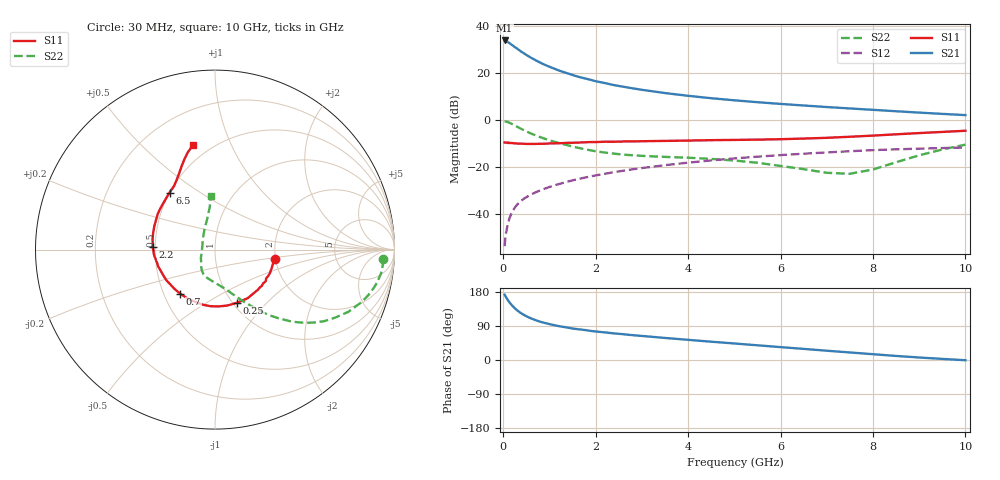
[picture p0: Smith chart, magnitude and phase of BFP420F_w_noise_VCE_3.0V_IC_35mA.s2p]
! Infineon Technologies  Discrete & RF Semiconductors
! BFP420F
! VCE =  3.0 V,  IC =  35 mA
! Common Emitter S-Parameters:  Sep 2011
# GHz  S  MA  R  50
!  f  S11  S21  S12  S22
! GHz  MAG  ANG  MAG  ANG  MAG  ANG  MAG  ANG
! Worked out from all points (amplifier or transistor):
!   54 points, 30 MHz to 10 GHz, reference 50 ohm
!   highest |S21| = 33.9 dB at 30 MHz (marker M1)
!   |S21| within 3 dB of that: start of sweep to 264.9 MHz
!   unconditionally stable (mu >= 1): 1.443 GHz to end of sweep
!   at 120 MHz: K = 0.36, MSG = 37.9 dB, |S12| = -42.9 dB
!   at 1.3 GHz: K = 0.97, MSG = 23.5 dB, |S12| = -26.6 dB
!   at 10 GHz: K = 1.22, MAG = 4.1 dB, |S12| = -11.6 dB
!   lowest NFmin = 1.93 dB at 450 MHz
!   S11 on the Smith chart (normalised r, x): 30 MHz: 1.98, -0.22; 250 MHz: 1.05, -0.69; 700 MHz: 0.61, -0.33; 2.2 GHz: 0.48, +0.01; 6.5 GHz: 0.50, +0.38; 10 GHz: 0.40, +0.73
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0.03  0.3356 -8.5  49.39 172.5  0.0021 87.9  0.9388 -3.3
0.07  0.3316 -21.5  47.64 164.2  0.0043 84.3  0.9288 -9.5
0.1  0.3268 -29.5  45.89 158.2  0.0063 82.0  0.909 -13.7
0.12  0.3277 -35.2  44.47 154.5  0.0072 80.4  0.8926 -16.3
0.15  0.3272 -43.2  42.26 149.8  0.009 78.4  0.8657 -19.9
0.2  0.3262 -55.9  38.97 142.9  0.0116 76.0  0.8191 -25.1
0.25  0.3207 -67.5  35.77 136.6  0.0138 73.8  0.7704 -29.4
0.35  0.3173 -86.6  30.54 126.6  0.0179 70.2  0.6837 -36.5
0.45  0.3147 -101.7  26.24 118.9  0.0215 68.5  0.6106 -41.5
0.6  0.3124 -119.6  21.22 109.9  0.0262 67.1  0.5205 -47.3
0.7  0.3129 -128.5  18.8 105.2  0.0292 66.7  0.4756 -50.3
0.9  0.3156 -142.3  15.02 97.8  0.0351 66.4  0.4029 -55.1
1.1  0.3215 -152.4  12.47 92.0  0.0409 66.3  0.349 -59.3
1.3  0.3258 -160.3  10.55 87.4  0.0466 66.1  0.309 -63.2
1.7  0.3362 -172.0  8.007 80.1  0.0582 65.3  0.2483 -71.0
2.2  0.3482 177.9  6.135 72.8  0.0727 63.8  0.2047 -81.6
3.5  0.3624 159.0  3.768 58.2  0.1105 57.7  0.1658 -103.5
5.5  0.3854 139.4  2.409 38.8  0.1674 45.5  0.1243 -128.0
6.5  0.4064 128.5  2.049 29.3  0.1937 38.8  0.0909 -149.9
7  0.4212 122.8  1.901 24.5  0.2062 35.4  0.0761 -167.7
8.5  0.5006 111.8  1.547 10.7  0.2399 24.5  0.1275 117.4
10  0.5953 101.9  1.281 -0.6  0.2627 15.0  0.3013 94.0
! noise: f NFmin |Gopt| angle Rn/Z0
0.45  1.93  0.32  -175  0.1
0.9  1.94  0.34  -172  0.13
1.9  2.07  0.39  -162  0.12
2.4  2.14  0.38  -155  0.13
3.5  2.39  0.37  -143  0.19
